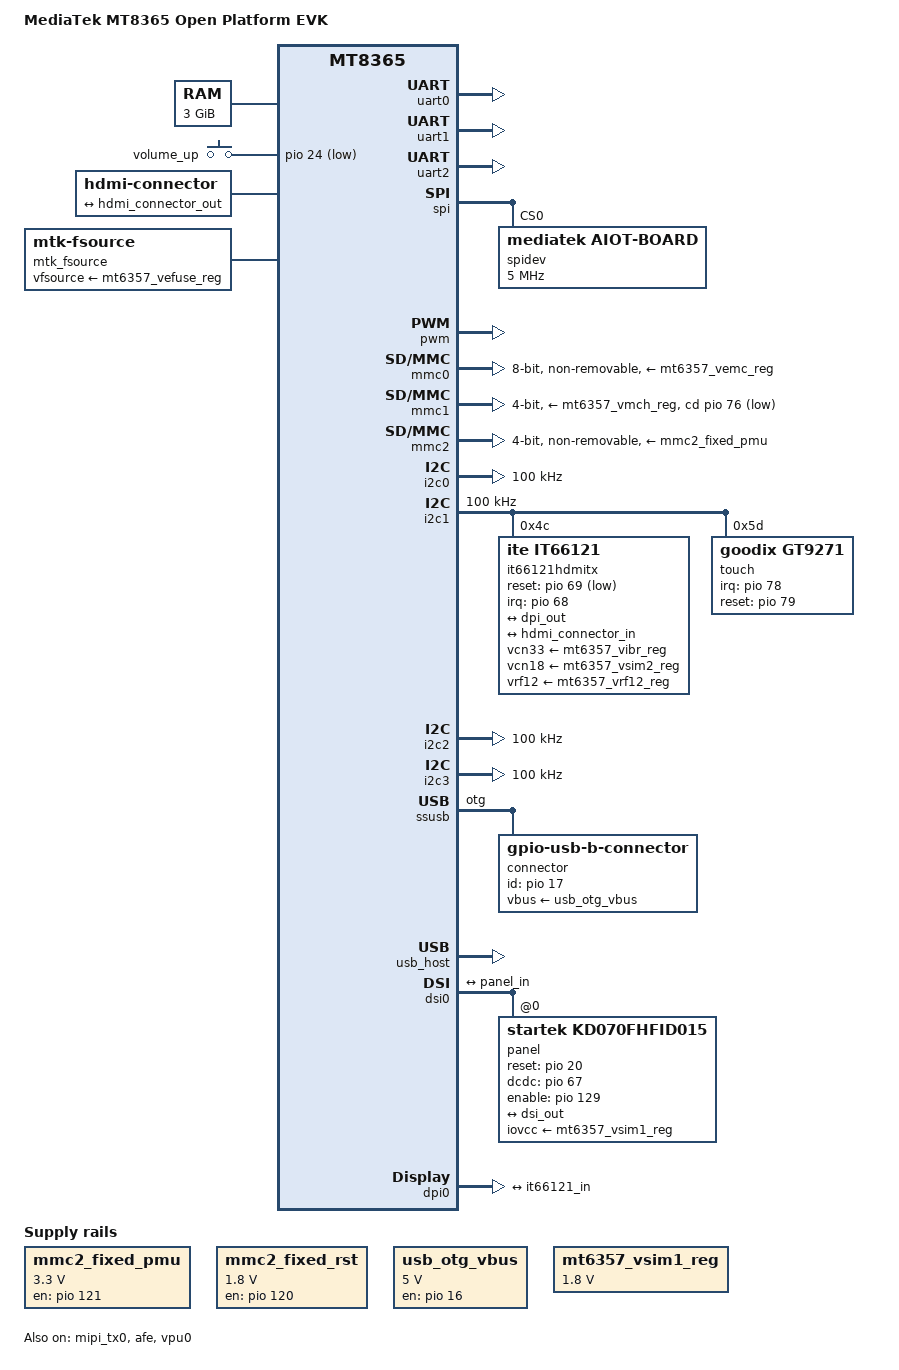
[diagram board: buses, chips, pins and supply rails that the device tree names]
// SPDX-License-Identifier: GPL-2.0
/*
 * Copyright (c) 2021 BayLibre, SAS.
 * Author: Fabien Parent <fparent@baylibre.com>
 */

/dts-v1/;

#include <dt-bindings/gpio/gpio.h>
#include <dt-bindings/input/input.h>
#include <dt-bindings/pinctrl/mt8365-pinfunc.h>
#include "mt8365.dtsi"
#include "mt6357.dtsi"

/ {
	model = "MediaTek MT8365 Open Platform EVK";
	compatible = "mediatek,mt8365-evk", "mediatek,mt8365";

	aliases {
		serial0 = &uart0;
		mmc0 = &mmc0;
		mmc1 = &mmc1;
		mmc2 = &mmc2;
	};

	memory@40000000 {
		device_type = "memory";
		reg = <0 0x40000000 0 0xc0000000>;
	};

	chosen {
		stdout-path = "serial0:921600n8";
	};

	firmware {
		optee {
			compatible = "linaro,optee-tz";
			method = "smc";
		};
	};

	gpio-keys {
		compatible = "gpio-keys";
		input-name = "gpio-keys";
		pinctrl-names = "default";
		pinctrl-0 = <&gpio_keys>;

		volume-up {
			gpios = <&pio 24 GPIO_ACTIVE_LOW>;
			label = "volume_up";
			linux,code = <KEY_VOLUMEUP>;
			wakeup-source;
			debounce-interval = <15>;
		};
	};

	mmc2_fixed_pmu: regulator@0 {
		compatible = "regulator-fixed";
		regulator-name = "mmc2_pmu";
		regulator-min-microvolt = <3300000>;
		regulator-max-microvolt = <3300000>;
		gpio = <&pio 121 0>;
		enable-active-high;
	};

	mmc2_fixed_rst: regulator@1 {
		compatible = "regulator-fixed";
		regulator-name = "mmc2_rst";
		regulator-min-microvolt = <1800000>;
		regulator-max-microvolt = <1800000>;
		gpio = <&pio 120 0>;
		enable-active-high;
	};

	sound: sound {
		compatible = "mediatek,mt8365-evk";
		mediatek,platform = <&afe>;
		pinctrl-names = "aud_mosi_on",
			"aud_mosi_off",
			"aud_miso_on",
			"aud_miso_off",
			"default",
			"aud_dmic";
		pinctrl-0 = <&aud_pins_mosi_on>;
		pinctrl-1 = <&aud_pins_mosi_off>;
		pinctrl-2 = <&aud_pins_miso_on>;
		pinctrl-3 = <&aud_pins_miso_off>;
		pinctrl-4 = <&aud_pins_default>;
		pinctrl-5 = <&aud_pins_dmic>;
		status = "okay";

		dai-link-hdmi {
			sound-dai = <&afe>;
			dai-link-name = "2ND I2S BE";

			codec-0 {
				sound-dai = <&it66121hdmitx>;
			};
		};
	};

	reserved-memory {
		#address-cells = <2>;
		#size-cells = <2>;
		ranges;

		/* 12 MiB reserved for OP-TEE (BL32)
		 * +-----------------------+ 0x43e0_0000
		 * |      SHMEM 2MiB       |
		 * +-----------------------+ 0x43c0_0000
		 * |        | TA_RAM  8MiB |
		 * + TZDRAM +--------------+ 0x4340_0000
		 * |        | TEE_RAM 2MiB |
		 * +-----------------------+ 0x4320_0000
		 */
		optee_reserved: optee@43200000 {
			no-map;
			reg = <0 0x43200000 0 0x00c00000>;
		};

		vpu_ram: vpu_ram@0x60000000 {
			 compatible = "shared-dma-pool";
			 reg = <0 0x60000000 0 0x04000000>;
			 no-map;
			 linux,cma-default;
		 };

		/* global autoconfigured region for contiguous allocations */
		linux,cma {
			compatible = "shared-dma-pool";
			reusable;
			size = <0x00000000 0x01c00000>;
			linux,cma-default;
		};
	};

	usb_otg_vbus: usb-otg-vbus-regulator {
		compatible = "regulator-fixed";
		regulator-name = "otg_vbus";
		regulator-min-microvolt = <5000000>;
		regulator-max-microvolt = <5000000>;
		gpio = <&pio 16 GPIO_ACTIVE_HIGH>;
		enable-active-high;
	};

	apu@0 {
		compatible = "mediatek,apu-drm";
		remoteproc = <&vpu0>;
		iova = <0 0x60000000 0 0x10000000>;
	};

	connector {
		compatible = "hdmi-connector";
		label = "hdmi";
		type = "d";

		port {
			hdmi_connector_in: endpoint {
				remote-endpoint = <&hdmi_connector_out>;
			};
		};
	};

	mtk_fsource: fsource {
		compatible = "mtk-fsource";
		vfsource-supply = <&mt6357_vefuse_reg>;
	};
};

&mt6357codec {
	use_hp_depop_flow = <0>; /* select 1: use, 0: not use */
	use_ul_260k = <0>; /* select 1: use, 0: not use */
};

&mt6357_pmic {
	interrupt-parent = <&pio>;
	interrupts = <145 IRQ_TYPE_LEVEL_HIGH>;
	interrupt-controller;
	#interrupt-cells = <2>;
};

&cpu0 {
	proc-supply = <&mt6357_vproc_reg>;
	sram-supply = <&mt6357_vsram_proc_reg>;
};

&cpu1 {
	proc-supply = <&mt6357_vproc_reg>;
	sram-supply = <&mt6357_vsram_proc_reg>;
};

&cpu2 {
	proc-supply = <&mt6357_vproc_reg>;
	sram-supply = <&mt6357_vsram_proc_reg>;
};

&cpu3 {
	proc-supply = <&mt6357_vproc_reg>;
	sram-supply = <&mt6357_vsram_proc_reg>;
};

&mt6357_vrf12_reg {
	regulator-always-on;
};

&mt6357_vaud28_reg {
	regulator-always-on;
};

/* Needed by MSDC1 */
&mt6357_vmc_reg {
	regulator-always-on;
};

&uart0 {
	pinctrl-0 = <&uart0_pins>;
	pinctrl-names = "default";
	status = "okay";
};

&uart1 {
	pinctrl-0 = <&uart1_pins>;
	pinctrl-names = "default";
	status = "okay";
};

&uart2 {
	pinctrl-0 = <&uart2_pins>;
	pinctrl-names = "default";
	status = "okay";
};

&spi {
	pinctrl-0 = <&spi_pins>;
	pinctrl-names = "default";
	mediatek,pad-select = <0>;
	status = "okay";

	spidev@0 {
		compatible = "mediatek,aiot-board";
		spi-max-frequency = <5000000>;
		reg = <0>;
	};
};

&pwm {
	pinctrl-0 = <&pwm_pins>;
	pinctrl-names = "default";
	status = "okay";
};

&keypad {
	status = "disabled";
};

&mmc0 {
	status = "okay";
	pinctrl-names = "default", "state_uhs";
	pinctrl-0 = <&mmc0_pins_default>;
	pinctrl-1 = <&mmc0_pins_uhs>;
	bus-width = <8>;
	max-frequency = <200000000>;
	cap-mmc-highspeed;
	mmc-hs200-1_8v;
	mmc-hs400-1_8v;
	cap-mmc-hw-reset;
	no-sdio;
	no-sd;
	hs400-ds-delay = <0x12012>;
	vmmc-supply = <&mt6357_vemc_reg>;
	vqmmc-supply = <&mt6357_vio18_reg>;
	assigned-clocks = <&topckgen CLK_TOP_MSDC50_0_SEL>;
	assigned-clock-parents = <&topckgen CLK_TOP_MSDCPLL>;
	non-removable;
};

&mmc1 {
	pinctrl-names = "default", "state_uhs";
	pinctrl-0 = <&mmc1_pins_default>;
	pinctrl-1 = <&mmc1_pins_uhs>;
	cd-gpios = <&pio 76 GPIO_ACTIVE_LOW>;
	bus-width = <4>;
	max-frequency = <200000000>;
	cap-sd-highspeed;
	sd-uhs-sdr50;
	sd-uhs-sdr104;
	vmmc-supply = <&mt6357_vmch_reg>;
	vqmmc-supply = <&mt6357_vio18_reg>;
	status = "okay";
};

&mmc2 {
	pinctrl-names = "default", "state_uhs";
	pinctrl-0 = <&mmc2_pins_default>;
	pinctrl-1 = <&mmc2_pins_uhs>;
	bus-width = <4>;
	max-frequency = <200000000>;
	cap-sd-highspeed;
	sd-uhs-sdr25;
	sd-uhs-sdr50;
	sd-uhs-sdr104;
	keep-power-in-suspend;
	enable-sdio-wakeup;
	cap-sdio-irq;
	hs400-ds-delay = <0x12012>;
	vmmc-supply = <&mmc2_fixed_pmu>;
	vqmmc-supply = <&mmc2_fixed_rst>;
	assigned-clocks = <&topckgen CLK_TOP_MSDC50_2_SEL>;
	assigned-clock-parents = <&topckgen CLK_TOP_MSDCPLL>;
	non-removable;
	status = "okay";
};

&i2c0 {
	pinctrl-names = "default";
	pinctrl-0 = <&i2c0_pins>;
	clock-frequency = <100000>;
	#address-cells = <1>;
	#size-cells = <0>;
	status = "okay";
};

&i2c1 {
	pinctrl-names = "default";
	pinctrl-0 = <&i2c1_pins>;
	clock-frequency = <100000>;
	status = "okay";
	clock-div = <2>;

	it66121hdmitx: it66121hdmitx@4c {
		compatible = "ite,it66121";
		pinctrl-names = "default";
		pinctrl-0 = <&ite_pins>;
		vcn33-supply = <&mt6357_vibr_reg>;
		vcn18-supply = <&mt6357_vsim2_reg>;
		vrf12-supply = <&mt6357_vrf12_reg>;
		reset-gpios = <&pio 69 GPIO_ACTIVE_LOW>;
		interrupt-parent = <&pio>;
		interrupts = <68 IRQ_TYPE_LEVEL_LOW>;
		reg = <0x4c>;
		pclk-dual-edge;

		#sound-dai-cells = <0>;

		ports {
			#address-cells = <1>;
			#size-cells = <0>;

			port@0 {
				it66121_in: endpoint {
					bus-width = <12>;
					remote-endpoint = <&dpi_out>;
				};
			};

			port@1 {
				reg = <1>;
				hdmi_connector_out: endpoint {
					remote-endpoint = <&hdmi_connector_in>;
				};
			};
		};
	};

	touch: gt911@5d {
		compatible = "goodix,gt9271";
		reg = <0x5d>;
		pinctrl-names = "default";
		pinctrl-0 = <&ts_pins>;
		interrupt-parent = <&pio>;
		interrupts = <78 IRQ_TYPE_EDGE_FALLING>;
		irq-gpios = <&pio 78 GPIO_ACTIVE_HIGH>;
		reset-gpios = <&pio 79 GPIO_ACTIVE_HIGH>;
	};
};

&i2c2 {
	pinctrl-names = "default";
	pinctrl-0 = <&i2c2_pins>;
	clock-frequency = <100000>;
	status = "okay";
};

&i2c3 {
	pinctrl-names = "default";
	pinctrl-0 = <&i2c3_pins>;
	clock-frequency = <100000>;
	status = "okay";
};

&ssusb {
	pinctrl-0 = <&usb_pins>;
	pinctrl-names = "default";
	maximum-speed = "high-speed";
	usb-role-switch;
	dr_mode = "otg";
	vusb33-supply = <&mt6357_vusb33_reg>;
	status = "okay";

	connector {
		compatible = "gpio-usb-b-connector", "usb-b-connector";
		type = "micro";
		id-gpios = <&pio 17 GPIO_ACTIVE_HIGH>;
		vbus-supply = <&usb_otg_vbus>;
	};
};

&usb_host {
	vusb33-supply = <&mt6357_vusb33_reg>;
	status = "okay";
};

&mipi_tx0 {
	status = "okay";
};

&dsi0 {
	status = "okay";
	#address-cells = <1>;
	#size-cells = <0>;
	poweron-in-hs-mode = <0>;

	panel@0 {
		compatible = "startek,kd070fhfid015";
		status = "okay";
		reg = <0>;
		pinctrl-names = "default";
		pinctrl-0 = <&panel_pins_default>;
		reset-gpios = <&pio 20 GPIO_ACTIVE_HIGH>;
		dcdc-gpios = <&pio 67 GPIO_ACTIVE_HIGH>;
		enable-gpios = <&pio 129 GPIO_ACTIVE_HIGH>;
		iovcc-supply = <&mt6357_vsim1_reg>;

		port {
			panel_in: endpoint {
				remote-endpoint = <&dsi_out>;
			};
		};
	};

	ports {
		port {
			dsi_out: endpoint {
				remote-endpoint = <&panel_in>;
			};
		};
	};
};

&dpi0 {
	dpi_dual_edge;
	dpi_pin_mode_swap;
	pinctrl-names = "default", "sleep";
	pinctrl-0 = <&dpi_pin_func>;
	pinctrl-1 = <&dpi_pin_gpio>;
	status = "okay";

	port {
		dpi_out: endpoint {
			remote-endpoint = <&it66121_in>;
		};
	};
};

&mt6357keys {
	/delete-node/ home-key;

	volume-down {
		label = "volume_down";
		linux,keycodes = <KEY_VOLUMEDOWN>;
		wakeup-source;
	};
};

&mt6357_vibr_reg {
	regulator-always-on;
};

&mt6357_vsim1_reg {
	regulator-min-microvolt = <1800000>;
	regulator-max-microvolt = <1800000>;
};

&mt6357_vsim2_reg {
	regulator-always-on;
};

&ethernet {
	pinctrl-names = "default";
	pinctrl-0 = <&ethernet_pins>;
	phy-handle = <&eth_phy>;
	phy-mode = "rmii";
	mac-address = [00 00 00 00 00 00];
	status = "disabled";

	mdio {
		#address-cells = <1>;
		#size-cells = <0>;

		eth_phy: ethernet-phy@0 {
			reg = <0>;
		};
	};
};

&pio {
	pinctrl-0 = <&pio_default>;
	pinctrl-names = "default";

	pio_default: pio-default {
		rpi-header-pins {
			pinmux = <MT8365_PIN_22_KPROW0__FUNC_GPIO22>,
				 <MT8365_PIN_25_KPCOL1__FUNC_GPIO25>,
				 <MT8365_PIN_32_JTDI__FUNC_GPIO32>,
				 <MT8365_PIN_33_JTDO__FUNC_GPIO33>,
				 <MT8365_PIN_34_JTRST__FUNC_GPIO34>,
				 <MT8365_PIN_109_NRNB__FUNC_GPIO109>,
				 <MT8365_PIN_124_DMIC2_DAT0__FUNC_GPIO124>,
				 <MT8365_PIN_127_DMIC3_DAT0__FUNC_GPIO127>,
				 <MT8365_PIN_136_CONN_TOP_CLK__FUNC_GPIO136>,
				 <MT8365_PIN_137_CONN_TOP_DATA__FUNC_GPIO137>,
				 <MT8365_PIN_138_CONN_HRST_B__FUNC_GPIO138>,
				 <MT8365_PIN_139_CONN_WB_PTA__FUNC_GPIO139>,
				 <MT8365_PIN_140_CONN_BT_CLK__FUNC_GPIO140>,
				 <MT8365_PIN_141_CONN_BT_DATA__FUNC_GPIO141>,
				 <MT8365_PIN_142_CONN_WF_CTRL0__FUNC_GPIO142>,
				 <MT8365_PIN_144_CONN_WF_CTRL2__FUNC_GPIO144>;
		};
	};

	uart0_pins: uart0-pins {
		pins {
			pinmux = <MT8365_PIN_35_URXD0__FUNC_URXD0>,
				 <MT8365_PIN_36_UTXD0__FUNC_UTXD0>;
		};
	};

	uart1_pins: uart1-pins {
		pins {
			pinmux = <MT8365_PIN_37_URXD1__FUNC_URXD1>,
				 <MT8365_PIN_38_UTXD1__FUNC_UTXD1>;
		};
	};

	uart2_pins: uart2-pins {
		pins {
			pinmux = <MT8365_PIN_39_URXD2__FUNC_URXD2>,
				 <MT8365_PIN_40_UTXD2__FUNC_UTXD2>;
		};
	};

	mmc0_pins_default: mmc0default {
		pins_cmd_dat {
			pinmux = <MT8365_PIN_103_MSDC0_DAT0__FUNC_MSDC0_DAT0>,
				 <MT8365_PIN_102_MSDC0_DAT1__FUNC_MSDC0_DAT1>,
				 <MT8365_PIN_101_MSDC0_DAT2__FUNC_MSDC0_DAT2>,
				 <MT8365_PIN_100_MSDC0_DAT3__FUNC_MSDC0_DAT3>,
				 <MT8365_PIN_96_MSDC0_DAT4__FUNC_MSDC0_DAT4>,
				 <MT8365_PIN_95_MSDC0_DAT5__FUNC_MSDC0_DAT5>,
				 <MT8365_PIN_94_MSDC0_DAT6__FUNC_MSDC0_DAT6>,
				 <MT8365_PIN_93_MSDC0_DAT7__FUNC_MSDC0_DAT7>,
				 <MT8365_PIN_98_MSDC0_CMD__FUNC_MSDC0_CMD>;
			input-enable;
			bias-pull-up;
		};

		pins_clk {
			pinmux = <MT8365_PIN_99_MSDC0_CLK__FUNC_MSDC0_CLK>;
			bias-pull-down;
		};

		pins_rst {
			pinmux = <MT8365_PIN_97_MSDC0_RSTB__FUNC_MSDC0_RSTB>;
			bias-pull-up;
		};
	};

	mmc0_pins_uhs: mmc0@0{
		pins_cmd_dat {
			pinmux = <MT8365_PIN_103_MSDC0_DAT0__FUNC_MSDC0_DAT0>,
				 <MT8365_PIN_102_MSDC0_DAT1__FUNC_MSDC0_DAT1>,
				 <MT8365_PIN_101_MSDC0_DAT2__FUNC_MSDC0_DAT2>,
				 <MT8365_PIN_100_MSDC0_DAT3__FUNC_MSDC0_DAT3>,
				 <MT8365_PIN_96_MSDC0_DAT4__FUNC_MSDC0_DAT4>,
				 <MT8365_PIN_95_MSDC0_DAT5__FUNC_MSDC0_DAT5>,
				 <MT8365_PIN_94_MSDC0_DAT6__FUNC_MSDC0_DAT6>,
				 <MT8365_PIN_93_MSDC0_DAT7__FUNC_MSDC0_DAT7>,
				 <MT8365_PIN_98_MSDC0_CMD__FUNC_MSDC0_CMD>;
			input-enable;
			drive-strength = <MTK_DRIVE_10mA>;
			bias-pull-up = <MTK_PUPD_SET_R1R0_01>;
		};

		pins_clk {
			pinmux = <MT8365_PIN_99_MSDC0_CLK__FUNC_MSDC0_CLK>;
			drive-strength = <MTK_DRIVE_10mA>;
			bias-pull-down = <MTK_PUPD_SET_R1R0_10>;
		};

		pins_ds {
			pinmux = <MT8365_PIN_104_MSDC0_DSL__FUNC_MSDC0_DSL>;
			drive-strength = <MTK_DRIVE_10mA>;
			bias-pull-down = <MTK_PUPD_SET_R1R0_10>;
		};

		pins_rst {
			pinmux = <MT8365_PIN_97_MSDC0_RSTB__FUNC_MSDC0_RSTB>;
			drive-strength = <MTK_DRIVE_10mA>;
			bias-pull-up;
		};
	};

	mmc1_pins_default: mmc1default {
		pins_cmd_dat {
			pinmux = <MT8365_PIN_89_MSDC1_DAT0__FUNC_MSDC1_DAT0>,
				 <MT8365_PIN_90_MSDC1_DAT1__FUNC_MSDC1_DAT1>,
				 <MT8365_PIN_91_MSDC1_DAT2__FUNC_MSDC1_DAT2>,
				 <MT8365_PIN_92_MSDC1_DAT3__FUNC_MSDC1_DAT3>,
				 <MT8365_PIN_87_MSDC1_CMD__FUNC_MSDC1_CMD>;
			input-enable;
			bias-pull-up = <MTK_PUPD_SET_R1R0_01>;
		};

		pins_clk {
			pinmux = <MT8365_PIN_88_MSDC1_CLK__FUNC_MSDC1_CLK>;
			bias-pull-down = <MTK_PUPD_SET_R1R0_10>;
		};

		pin_cd {
			pinmux = <MT8365_PIN_76_CMDAT8__FUNC_GPIO76>;
			bias-pull-up;
		};
	};

	mmc1_pins_uhs: mmc1@0 {
		pins_cmd_dat {
			pinmux = <MT8365_PIN_89_MSDC1_DAT0__FUNC_MSDC1_DAT0>,
				 <MT8365_PIN_90_MSDC1_DAT1__FUNC_MSDC1_DAT1>,
				 <MT8365_PIN_91_MSDC1_DAT2__FUNC_MSDC1_DAT2>,
				 <MT8365_PIN_92_MSDC1_DAT3__FUNC_MSDC1_DAT3>,
				 <MT8365_PIN_87_MSDC1_CMD__FUNC_MSDC1_CMD>;
			input-enable;
			drive-strength = <MTK_DRIVE_6mA>;
			bias-pull-up = <MTK_PUPD_SET_R1R0_01>;
		};

		pins_clk {
			pinmux = <MT8365_PIN_88_MSDC1_CLK__FUNC_MSDC1_CLK>;
			drive-strength = <MTK_DRIVE_8mA>;
			bias-pull-down = <MTK_PUPD_SET_R1R0_10>;
		};
	};

	mmc2_pins_default: mmc2default {
		pins_cmd_dat {
			pinmux = <MT8365_PIN_82_MSDC2_DAT0__FUNC_MSDC2_DAT0>,
				 <MT8365_PIN_83_MSDC2_DAT1__FUNC_MSDC2_DAT1>,
				 <MT8365_PIN_84_MSDC2_DAT2__FUNC_MSDC2_DAT2>,
				 <MT8365_PIN_85_MSDC2_DAT3__FUNC_MSDC2_DAT3>,
				 <MT8365_PIN_80_MSDC2_CMD__FUNC_MSDC2_CMD>;
			input-enable;
			drive-strength = <MTK_DRIVE_4mA>;
			bias-pull-up = <MTK_PUPD_SET_R1R0_01>;
		};

		pins_clk {
			pinmux = <MT8365_PIN_81_MSDC2_CLK__FUNC_MSDC2_CLK>;
			drive-strength = <MTK_DRIVE_4mA>;
			bias-pull-down = <MTK_PUPD_SET_R1R0_10>;
		};

		pins_wifi_pwr_en {
			pinmux = <MT8365_PIN_121_DMIC1_DAT0__FUNC_GPIO121>;
			output-high;
		};

		pins_sysrstb_en {
			pinmux = <MT8365_PIN_120_DMIC1_CLK__FUNC_GPIO120>;
			output-low;
		};
	};

	mmc2_pins_uhs: mmc2@0 {
		pins_cmd_dat {
			pinmux = <MT8365_PIN_82_MSDC2_DAT0__FUNC_MSDC2_DAT0>,
				 <MT8365_PIN_83_MSDC2_DAT1__FUNC_MSDC2_DAT1>,
				 <MT8365_PIN_84_MSDC2_DAT2__FUNC_MSDC2_DAT2>,
				 <MT8365_PIN_85_MSDC2_DAT3__FUNC_MSDC2_DAT3>,
				 <MT8365_PIN_80_MSDC2_CMD__FUNC_MSDC2_CMD>;
			input-enable;
			drive-strength = <MTK_DRIVE_8mA>;
			bias-pull-up = <MTK_PUPD_SET_R1R0_01>;
		};

		pin_clk {
			pinmux = <MT8365_PIN_81_MSDC2_CLK__FUNC_MSDC2_CLK>;
			drive-strength = <MTK_DRIVE_8mA>;
			bias-pull-down = <MTK_PUPD_SET_R1R0_10>;
		};

		pin_ds {
			pinmux = <MT8365_PIN_86_MSDC2_DSL__FUNC_MSDC2_DSL>;
			drive-strength = <MTK_DRIVE_8mA>;
			bias-pull-down = <MTK_PUPD_SET_R1R0_10>;
		};

		pins_wifi_pwr_en {
			pinmux = <MT8365_PIN_121_DMIC1_DAT0__FUNC_GPIO121>;
			output-high;
		};

		pins_sysrstb_en {
			pinmux = <MT8365_PIN_120_DMIC1_CLK__FUNC_GPIO120>;
			output-high;
		};
	};

	i2c0_pins: i2c0 {
		pins_i2c {
			pinmux = <MT8365_PIN_57_SDA0__FUNC_SDA0_0>,
				 <MT8365_PIN_58_SCL0__FUNC_SCL0_0>;
			bias-pull-up = <MTK_RSEL_SET_R1R0_11>;
			drive-strength = <MTK_DRIVE_2mA>;
		};
	};


	i2c1_pins: i2c1 {
		pins_i2c {
			pinmux = <MT8365_PIN_59_SDA1__FUNC_SDA1_0>,
				 <MT8365_PIN_60_SCL1__FUNC_SCL1_0>;
			bias-pull-up = <MTK_RSEL_SET_R1R0_11>;
			drive-strength = <MTK_DRIVE_2mA>;
		};
	};

	i2c2_pins: i2c2 {
		pins_i2c {
			pinmux = <MT8365_PIN_61_SDA2__FUNC_SDA2_0>,
				 <MT8365_PIN_62_SCL2__FUNC_SCL2_0>;
			bias-pull-up = <MTK_RSEL_SET_R1R0_11>;
			drive-strength = <MTK_DRIVE_4mA>;
		};
	};

	i2c3_pins: i2c3 {
		pins_i2c {
			pinmux = <MT8365_PIN_63_SDA3__FUNC_SDA3_0>,
				 <MT8365_PIN_64_SCL3__FUNC_SCL3_0>;
			bias-pull-up = <MTK_RSEL_SET_R1R0_11>;
			drive-strength = <MTK_DRIVE_4mA>;
		};
	};

	usb_pins: usb-pins {
		pin_id {
			pinmux = <MT8365_PIN_17_GPIO17__FUNC_GPIO17>;
			input-enable;
			bias-pull-up;
		};

		pin_usb0_vbus {
			pinmux = <MT8365_PIN_16_GPIO16__FUNC_USB_DRVVBUS>;
			output-high;
		};

		pin_usb1_vbus {
			pinmux = <MT8365_PIN_18_GPIO18__FUNC_GPIO18>;
			output-high;
		};
	};

	gpio_keys: gpio-keys {
		pins {
			pinmux = <MT8365_PIN_24_KPCOL0__FUNC_KPCOL0>;
			bias-pull-up;
			input-enable;
		};
	};

	ethernet_pins: ethernet {
		pins_ethernet {
			pinmux = <MT8365_PIN_0_GPIO0__FUNC_EXT_TXD0>,
				 <MT8365_PIN_1_GPIO1__FUNC_EXT_TXD1>,
				 <MT8365_PIN_2_GPIO2__FUNC_EXT_TXD2>,
				 <MT8365_PIN_3_GPIO3__FUNC_EXT_TXD3>,
				 <MT8365_PIN_4_GPIO4__FUNC_EXT_TXC>,
				 <MT8365_PIN_5_GPIO5__FUNC_EXT_RXER>,
				 <MT8365_PIN_6_GPIO6__FUNC_EXT_RXC>,
				 <MT8365_PIN_7_GPIO7__FUNC_EXT_RXDV>,
				 <MT8365_PIN_8_GPIO8__FUNC_EXT_RXD0>,
				 <MT8365_PIN_9_GPIO9__FUNC_EXT_RXD1>,
				 <MT8365_PIN_10_GPIO10__FUNC_EXT_RXD2>,
				 <MT8365_PIN_11_GPIO11__FUNC_EXT_RXD3>,
				 <MT8365_PIN_12_GPIO12__FUNC_EXT_TXEN>,
				 <MT8365_PIN_13_GPIO13__FUNC_EXT_COL>,
				 <MT8365_PIN_14_GPIO14__FUNC_EXT_MDIO>,
				 <MT8365_PIN_15_GPIO15__FUNC_EXT_MDC>;
		};

		pins_phy_reset {
			pinmux = <MT8365_PIN_133_TDM_TX_DATA1__FUNC_GPIO133>;
		};
	};

	ite_pins: ite-pins {
		pins_rst_ite {
			pinmux = <MT8365_PIN_69_CMDAT1__FUNC_GPIO69>;
			output-high;
		};

		pins_irq_ite {
			pinmux = <MT8365_PIN_68_CMDAT0__FUNC_GPIO68>;
			input-enable;
			bias-pull-up;
		};

		pins_pwr {
			pinmux = <MT8365_PIN_70_CMDAT2__FUNC_GPIO70>,
				 <MT8365_PIN_71_CMDAT3__FUNC_GPIO71>;
			output-high;
		};
	};

	dpi_pin_func: dpi-pin-func {
		pins-func {
			pinmux = <MT8365_PIN_0_GPIO0__FUNC_DPI_D0>,
				 <MT8365_PIN_1_GPIO1__FUNC_DPI_D1>,
				 <MT8365_PIN_2_GPIO2__FUNC_DPI_D2>,
				 <MT8365_PIN_3_GPIO3__FUNC_DPI_D3>,
				 <MT8365_PIN_4_GPIO4__FUNC_DPI_D4>,
				 <MT8365_PIN_5_GPIO5__FUNC_DPI_D5>,
				 <MT8365_PIN_6_GPIO6__FUNC_DPI_D6>,
				 <MT8365_PIN_7_GPIO7__FUNC_DPI_D7>,
				 <MT8365_PIN_8_GPIO8__FUNC_DPI_D8>,
				 <MT8365_PIN_9_GPIO9__FUNC_DPI_D9>,
				 <MT8365_PIN_10_GPIO10__FUNC_DPI_D10>,
				 <MT8365_PIN_11_GPIO11__FUNC_DPI_D11>,
				 <MT8365_PIN_12_GPIO12__FUNC_DPI_DE>,
				 <MT8365_PIN_13_GPIO13__FUNC_DPI_VSYNC>,
				 <MT8365_PIN_14_GPIO14__FUNC_DPI_CK>,
				 <MT8365_PIN_15_GPIO15__FUNC_DPI_HSYNC>;
			drive-strength = <MTK_DRIVE_4mA>;
		};
	};

	dpi_pin_gpio: dpi-pin-gpio {
		pins-gpio {
			pinmux = <MT8365_PIN_0_GPIO0__FUNC_GPIO0>,
				 <MT8365_PIN_1_GPIO1__FUNC_GPIO1>,
				 <MT8365_PIN_2_GPIO2__FUNC_GPIO2>,
				 <MT8365_PIN_3_GPIO3__FUNC_GPIO3>,
				 <MT8365_PIN_4_GPIO4__FUNC_GPIO4>,
				 <MT8365_PIN_5_GPIO5__FUNC_GPIO5>,
				 <MT8365_PIN_6_GPIO6__FUNC_GPIO6>,
				 <MT8365_PIN_7_GPIO7__FUNC_GPIO7>,
				 <MT8365_PIN_8_GPIO8__FUNC_GPIO8>,
				 <MT8365_PIN_9_GPIO9__FUNC_GPIO9>,
				 <MT8365_PIN_10_GPIO10__FUNC_GPIO10>,
				 <MT8365_PIN_11_GPIO11__FUNC_GPIO11>,
				 <MT8365_PIN_12_GPIO12__FUNC_GPIO12>,
				 <MT8365_PIN_13_GPIO13__FUNC_GPIO13>,
				 <MT8365_PIN_14_GPIO14__FUNC_GPIO14>,
				 <MT8365_PIN_15_GPIO15__FUNC_GPIO15>;
		};
	};

	spi_pins: spi-pins {
		pins {
			pinmux = <MT8365_PIN_26_SPI_CS__FUNC_SPI_CSB>,
				 <MT8365_PIN_27_SPI_CK__FUNC_SPI_CLK>,
				 <MT8365_PIN_28_SPI_MI__FUNC_SPI_MI>,
				 <MT8365_PIN_29_SPI_MO__FUNC_SPI_MO>;
			bias-disable;
		};
	};

	pwm_pins: pwm-pins {
		pins {
			pinmux = <MT8365_PIN_19_DISP_PWM__FUNC_PWM_A>,
				 <MT8365_PIN_116_I2S_BCK__FUNC_PWM_C>;
		};
	};

	aud_pins_mosi_on: mosion {
		pins_cmd_dat {
		pinmux = <MT8365_PIN_49_AUD_CLK_MOSI__FUNC_AUD_CLK_MOSI>,
			 <MT8365_PIN_50_AUD_SYNC_MOSI__FUNC_AUD_SYNC_MOSI>,
			 <MT8365_PIN_51_AUD_DAT_MOSI0__FUNC_AUD_DAT_MOSI0>,
			 <MT8365_PIN_52_AUD_DAT_MOSI1__FUNC_AUD_DAT_MOSI1>;
		drive-strength = <MTK_DRIVE_6mA>;
		};
	};

	aud_pins_mosi_off: mosioff {
		pins_cmd_dat {
		pinmux = <MT8365_PIN_49_AUD_CLK_MOSI__FUNC_GPIO49>,
			 <MT8365_PIN_50_AUD_SYNC_MOSI__FUNC_GPIO50>,
			 <MT8365_PIN_51_AUD_DAT_MOSI0__FUNC_GPIO51>,
			 <MT8365_PIN_52_AUD_DAT_MOSI1__FUNC_GPIO52>;
		input-enable;
		bias-pull-down;
		drive-strength = <MTK_DRIVE_2mA>;
		};
	};

	aud_pins_miso_on: misoon {
		pins_cmd_dat {
		pinmux = <MT8365_PIN_53_AUD_CLK_MISO__FUNC_AUD_CLK_MISO>,
			 <MT8365_PIN_54_AUD_SYNC_MISO__FUNC_AUD_SYNC_MISO>,
			 <MT8365_PIN_55_AUD_DAT_MISO0__FUNC_AUD_DAT_MISO0>,
			 <MT8365_PIN_56_AUD_DAT_MISO1__FUNC_AUD_DAT_MISO1>;
		drive-strength = <MTK_DRIVE_6mA>;
		};
	};

	aud_pins_miso_off: misooff {
		pins_cmd_dat {
		pinmux = <MT8365_PIN_53_AUD_CLK_MISO__FUNC_GPIO53>,
			 <MT8365_PIN_54_AUD_SYNC_MISO__FUNC_GPIO54>,
			 <MT8365_PIN_55_AUD_DAT_MISO0__FUNC_GPIO55>,
			 <MT8365_PIN_56_AUD_DAT_MISO1__FUNC_GPIO56>;
		input-enable;
		bias-pull-down;
		drive-strength = <MTK_DRIVE_2mA>;
		};
	};

	aud_pins_default: audiodefault {
		pins_cmd_dat {
		pinmux = <MT8365_PIN_72_CMDAT4__FUNC_I2S3_BCK>,
			 <MT8365_PIN_73_CMDAT5__FUNC_I2S3_LRCK>,
			 <MT8365_PIN_74_CMDAT6__FUNC_I2S3_MCK>,
			 <MT8365_PIN_75_CMDAT7__FUNC_I2S3_DO>;
		};
	};

	aud_pins_dmic: audiodmic {
		pins_cmd_dat {
		pinmux = <MT8365_PIN_117_DMIC0_CLK__FUNC_DMIC0_CLK>,
			 <MT8365_PIN_118_DMIC0_DAT0__FUNC_DMIC0_DAT0>,
			 <MT8365_PIN_119_DMIC0_DAT1__FUNC_DMIC0_DAT1>;
		};
	};

	ts_pins: ts-pins {
		pins-ctp-int1 {
			pinmux = <MT8365_PIN_78_CMHSYNC__FUNC_GPIO78>;
			input-enable;
			bias-disable;
		};

		ts-rst {
			pinmux = <MT8365_PIN_78_CMHSYNC__FUNC_GPIO78>;
			output-low;
		};
	};

	panel_pins_default: panel-pins-default {
		panel-dcdc {
			pinmux = <MT8365_PIN_67_CMPCLK__FUNC_GPIO67>;
			output-low;
		};

		panel-en {
			pinmux = <MT8365_PIN_129_TDM_TX_BCK__FUNC_GPIO129>;
			output-low;
		};

		panel-rst {
			pinmux = <MT8365_PIN_20_LCM_RST__FUNC_GPIO20>;
			output-high;
		};
	};
};

&afe {
	mediatek,i2s-clock-modes = <0 1>;
	mediatek,dmic-iir-on = <1>;
	mediatek,dmic-irr-mode = <5>;
	mediatek,dmic-two-wire-mode = <1>;
	status = "okay";
};

&vpu0 {
        memory-region = <&vpu_ram>;
        status = "okay";
};

